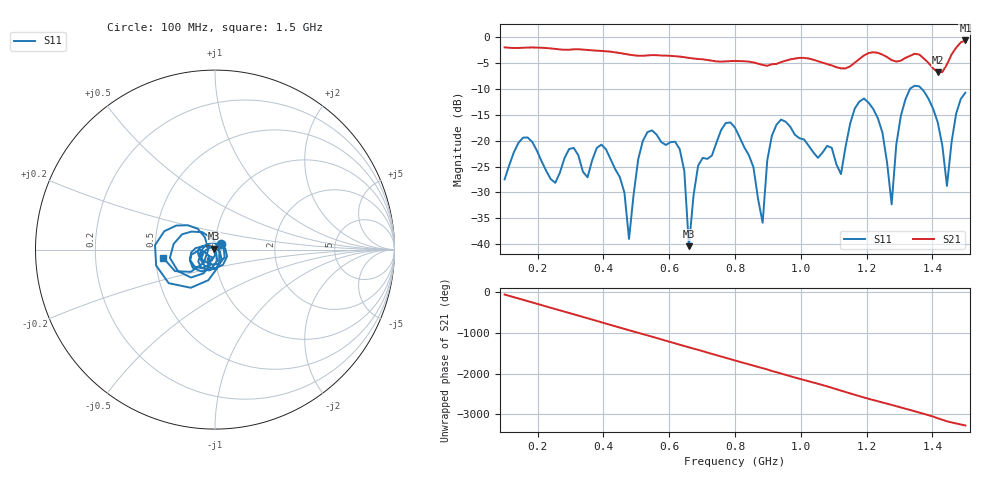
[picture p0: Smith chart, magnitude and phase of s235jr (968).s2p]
! NanoVNA-App
! Date: 2025-09-25 15:11:42
! Start: 100MHz Stop: 1,5GHz Points: 101
! S-Parameter data: F S11 S21 S12 S22
# Hz S RI R 50
!  Frequency  S11_Real  S11_Imag  S21_Real  S21_Imag  S12_Real  S12_Imag  S22_Real  S22_Imag
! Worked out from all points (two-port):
!   101 points, 100 MHz to 1.5 GHz, reference 50 ohm
!   highest |S21| = -0.63 dB at 1.5 GHz (marker M1); lowest = -6.8 dB at 1.416 GHz (marker M2)
!   |S21| within 3 dB of the highest: start of sweep to 608.7 MHz; 1.19 GHz to 1.256 GHz (65.9 MHz wide, 5.39 % of centre) (the widest 2 of 4)
!   lowest |S11| = -40.4 dB at 660 MHz (marker M3), VSWR 1.02, Z = 49.2 + j0.54 ohm
!   |S11| at or under -10 dB: start of sweep to 1.332 GHz; 1.367 GHz to end of sweep
!   S12 and S22 are empty: the file has one direction only
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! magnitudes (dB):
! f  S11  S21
! 100 MHz  -27.5  -2.0
! 156 MHz  -19.4  -2.0
! 338 MHz  -26.0  -2.4
! 408 MHz  -21.7  -2.7
! 478 MHz  -39.0  -3.4
! 520 MHz  -20.0  -3.6
! 576 MHz  -20.3  -3.5
! 632 MHz  -21.6  -3.7
! 660 MHz  -40.4  -4.0
! 688 MHz  -24.8  -4.2
! 800 MHz  -17.5  -4.6
! 884 MHz  -35.9  -5.4
! 926 MHz  -16.9  -5.2
! 1.038 GHz  -22.2  -4.3
! 1.122 GHz  -26.5  -6.0
! 1.192 GHz  -11.9  -3.5
! 1.248 GHz  -18.5  -3.4
! 1.276 GHz  -32.3  -4.4
! 1.332 GHz  -9.9  -3.6
! 1.416 GHz  -16.4  -6.8
! 1.444 GHz  -28.7  -5.3
! 1.5 GHz  -10.7  -0.6
